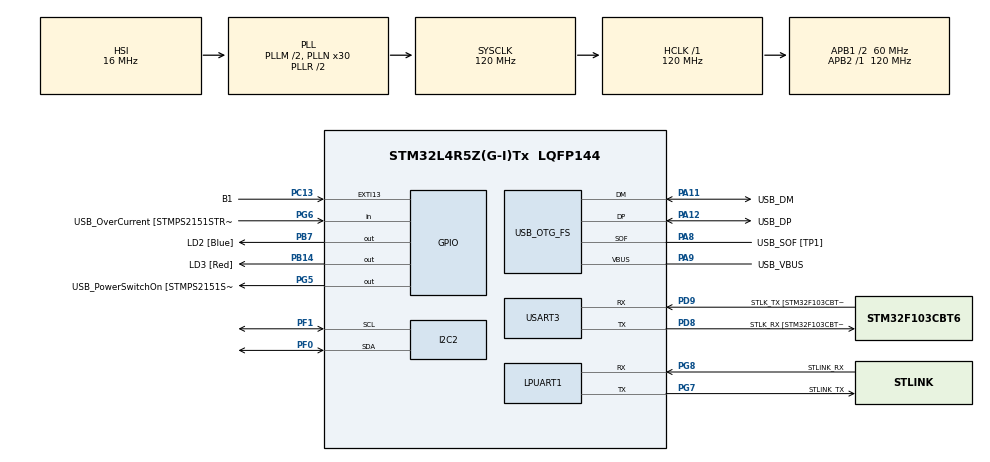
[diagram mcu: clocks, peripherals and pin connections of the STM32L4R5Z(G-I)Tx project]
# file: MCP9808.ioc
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I2C2.Timing=0x107075B0
LPUART1.WordLength=UART_WORDLENGTH_8B
Mcu.Family=STM32L4
Mcu.Name=STM32L4R5Z(G-I)Tx
Mcu.Package=LQFP144
NVIC.PriorityGroup=NVIC_PRIORITYGROUP_4
PA10.GPIO_Label=USB_ID
PA10.Signal=USB_OTG_FS_ID
PA11.GPIO_Label=USB_DM
PA11.Mode=Device_Only
PA11.Signal=USB_OTG_FS_DM
PA12.GPIO_Label=USB_DP
PA12.Mode=Device_Only
PA12.Signal=USB_OTG_FS_DP
PA13\ (JTMS/SWDIO).GPIO_Label=TMS
PA13\ (JTMS/SWDIO).Mode=Trace_Asynchronous_SW
PA13\ (JTMS/SWDIO).Signal=SYS_JTMS-SWDIO
PA14\ (JTCK/SWCLK).GPIO_Label=TCK
PA14\ (JTCK/SWCLK).Mode=Trace_Asynchronous_SW
PA14\ (JTCK/SWCLK).Signal=SYS_JTCK-SWCLK
PA2.Signal=USART2_TX
PA3.Signal=USART2_RX
PA8.GPIO_Label=USB_SOF [TP1]
PA8.Mode=Activate_SOF_FS
PA8.Signal=USB_OTG_FS_SOF
PA9.GPIO_Label=USB_VBUS
PA9.Mode=Activate_VBUS
PA9.Signal=USB_OTG_FS_VBUS
PB14.GPIO_Label=LD3 [Red]
PB14.Signal=GPIO_Output
PB3\ (JTDO/TRACESWO).GPIO_Label=SWO
PB3\ (JTDO/TRACESWO).Mode=Trace_Asynchronous_SW
PB3\ (JTDO/TRACESWO).Signal=SYS_JTDO-SWO
PB7.GPIO_Label=LD2 [Blue]
PB7.Signal=GPIO_Output
PC13.GPIO_Label=B1
PC13.Signal=GPXTI13
PC14-OSC32_IN\ (PC14).Mode=LSE-External-Oscillator
PC14-OSC32_IN\ (PC14).Signal=RCC_OSC32_IN
PC15-OSC32_OUT\ (PC15).Mode=LSE-External-Oscillator
PC15-OSC32_OUT\ (PC15).Signal=RCC_OSC32_OUT
PD8.GPIO_Label=STLK_RX [STM32F103CBT6_PA3]
PD8.Mode=Asynchronous
PD8.Signal=USART3_TX
PD9.GPIO_Label=STLK_TX [STM32F103CBT6_PA2]
PD9.Mode=Asynchronous
PD9.Signal=USART3_RX
PF0.Mode=I2C
PF0.Signal=I2C2_SDA
PF1.Mode=I2C
PF1.Signal=I2C2_SCL
PG5.GPIO_Label=USB_PowerSwitchOn [STMPS2151STR_EN]
PG5.Signal=GPIO_Output
PG6.GPIO_Label=USB_OverCurrent [STMPS2151STR_FAULT]
PG6.Signal=GPIO_Input
PG7.GPIO_Label=STLINK_TX
PG7.Mode=Asynchronous
PG7.Signal=LPUART1_TX
PG8.GPIO_Label=STLINK_RX
PG8.Mode=Asynchronous
PG8.Signal=LPUART1_RX
PH0-OSC_IN\ (PH0).Signal=RCC_OSC_IN
PH1-OSC_OUT\ (PH1).Signal=RCC_OSC_OUT
ProjectManager.HeapSize=0x200
ProjectManager.StackSize=0x400
ProjectManager.TargetToolchain=STM32CubeIDE
RCC.48MHZClocksFreq_Value=24000000
RCC.ADCFreq_Value=96000000
RCC.AHBFreq_Value=120000000
RCC.APB1CLKDivider=RCC_HCLK_DIV2
RCC.APB1Freq_Value=60000000
RCC.APB1TimFreq_Value=120000000
RCC.APB2Freq_Value=120000000
RCC.APB2TimFreq_Value=120000000
RCC.CK48CLockSelection=RCC_USBCLKSOURCE_HSI48
RCC.CortexFreq_Value=120000000
RCC.HCLKFreq_Value=120000000
RCC.HSE_VALUE=8000000
RCC.HSI48_VALUE=48000000
RCC.HSI_VALUE=16000000
RCC.MSI_VALUE=4000000
RCC.PLLM1=2
RCC.PLLMUL=RCC_PLL_MUL9
RCC.PLLN=30
RCC.PLLSAI1N=12
RCC.PLLSourceVirtual=RCC_PLLSOURCE_HSI
RCC.PRESCALERUSB=RCC_USBCLKSOURCE_PLL_DIV1_5
RCC.SYSCLKFreq_VALUE=120000000
RCC.SYSCLKSource=RCC_SYSCLKSOURCE_PLLCLK
RCC.SYSCLKSourceVirtual=RCC_SYSCLKSOURCE_PLLCLK
RCC.USBFreq_Value=48000000
RCC.VCOOutputFreq_Value=240000000
USART3.VirtualMode-Asynchronous=VM_ASYNC
USB_OTG_FS.VirtualMode=Device_Only
board=NUCLEO-L4R5ZI

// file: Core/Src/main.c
/* USER CODE BEGIN Header */
/**
 ******************************************************************************
 * @file           : main.c
 * @brief          : Main program body
 ******************************************************************************
 * @attention
 *
 * Copyright (c) 2022 STMicroelectronics.
 * All rights reserved.
 *
 * This software is licensed under terms that can be found in the LICENSE file
 * in the root directory of this software component.
 * If no LICENSE file comes with this software, it is provided AS-IS.
 *
 ******************************************************************************
 */
/* USER CODE END Header */
#include "main.h"

/* USER CODE BEGIN Includes */
#include <string.h>
#include <stdlib.h>

/* USER CODE END Includes */

I2C_HandleTypeDef hi2c2;

UART_HandleTypeDef hlpuart1;
UART_HandleTypeDef huart3;

PCD_HandleTypeDef hpcd_USB_OTG_FS;

/* USER CODE BEGIN PV */
static const uint8_t SENS_ADDR = 0x18;
static const uint8_t REG_TEMP = 0x05;
uint8_t ACK;
uint8_t NAK;
uint8_t UpperByte;
uint8_t LowerByte;

/* USER CODE END PV */

void SystemClock_Config(void);
static void MX_GPIO_Init(void);
static void MX_LPUART1_UART_Init(void);
static void MX_USART3_UART_Init(void);
static void MX_USB_OTG_FS_PCD_Init(void);
static void MX_I2C2_Init(void);

int main(void) {
	/* USER CODE BEGIN 1 */
	uint8_t buf[3];
	char str[100];
	float Temperature;
	/* USER CODE END 1 */

	/* MCU Configuration--------------------------------------------------------*/

	/* Reset of all peripherals, Initializes the Flash interface and the Systick. */
	HAL_Init();

	/* Configure the system clock */
	SystemClock_Config();

	/* Initialize all configured peripherals */
	MX_GPIO_Init();
	MX_LPUART1_UART_Init();
	MX_USART3_UART_Init();
	MX_USB_OTG_FS_PCD_Init();
	MX_I2C2_Init();

	/* Infinite loop */
	/* USER CODE BEGIN WHILE */
	while (1) {
		// new line char, for clarity
		char newLine[2] = "\n";

		/*
		 * Here, we are sending the address of the Ambiant Temperature information
		 * (Stored in REG_TEMP), to the Sensor where it will repopulate the buf
		 * with the 2 bytes which contain the information about the Ambiant Temperature
		 *
		 */
		buf[0] = REG_TEMP;
		HAL_I2C_Master_Transmit(&hi2c2, SENS_ADDR << 1, buf, 1,
		HAL_MAX_DELAY);

		// The 16 bits that represent the information for the Ta (Ambiant Temperature) are stored in
		// buf as the first two bytes (as it 16 bits long, so 2 bytes)
		HAL_I2C_Master_Receive(&hi2c2, SENS_ADDR << 1, buf, 2,
		HAL_MAX_DELAY);

		// First most significant byte
		UpperByte = buf[0];
		short upper = UpperByte; // Here for debugging purposes

		// Less significant byte
		LowerByte = buf[1];
		short lower = LowerByte; // Here for debugging purposes

		/*
		 * Following block of code can be found on page 25
		 * of the MCP9808 Data Sheet
		 *
		 *
		 */

		//First Check flag bits
		if ((UpperByte & 0x80) == 0x80) { //TA ³ TCRIT
			// 1000 0000, checks the most significant bit

		}
		if ((UpperByte & 0x40) == 0x40) { //TA > TUPPER
			// Need to configure upper limit

			// 0100 0000, checks bit 7
//			char str[] = "Ambient Temperature is greater than Upper Limit.";
//			HAL_UART_Transmit(&hlpuart1, str, strlen((char*) str),
//					HAL_MAX_DELAY);
		}
		if ((UpperByte & 0x20) == 0x20) { //TA < TLOWER
			// need to configure lower limit

			//			char str[] = "Ambient Temperature is less than lower Limit.";
//			HAL_UART_Transmit(&hlpuart1, str, strlen((char*) str),
//					HAL_MAX_DELAY);

		}
		// UpperByte & 0001 1111, first 3 bits of UpperByte are flag bits
		upper = upper & 0x1F; //Clear flag bits

		if ((UpperByte & 0x10) == 0x10) { //TA < 0°C
			upper = upper & 0x0F; //Clear SIGN
			Temperature = 256 - (upper * 16 + (float) lower / 16);
		} else
			//TA >= 0°C
			Temperature = (upper * 16 + (float) lower / 16);

		// The largest number is going to have 8 characters + end of string character
		char tempBuf[9];
		gcvt(Temperature, 7, tempBuf);

		// Prints Temp to COM port
		HAL_UART_Transmit(&hlpuart1, tempBuf, strlen((char*) tempBuf),
		HAL_MAX_DELAY);
		// Print new line for clarity
		HAL_UART_Transmit(&hlpuart1, newLine, strlen((char*) newLine),
		HAL_MAX_DELAY);

		HAL_Delay(750);

		/* USER CODE END WHILE */

	}
}

void SystemClock_Config(void) {
	RCC_OscInitTypeDef RCC_OscInitStruct = { 0 };
	RCC_ClkInitTypeDef RCC_ClkInitStruct = { 0 };

	/** Configure the main internal regulator output voltage
	 */
	if (HAL_PWREx_ControlVoltageScaling(PWR_REGULATOR_VOLTAGE_SCALE1_BOOST)
			!= HAL_OK) {
		Error_Handler();
	}

	/** Initializes the RCC Oscillators according to the specified parameters
	 * in the RCC_OscInitTypeDef structure.
	 */
	RCC_OscInitStruct.OscillatorType = RCC_OSCILLATORTYPE_HSI48
			| RCC_OSCILLATORTYPE_HSI;
	RCC_OscInitStruct.HSIState = RCC_HSI_ON;
	RCC_OscInitStruct.HSI48State = RCC_HSI48_ON;
	RCC_OscInitStruct.HSICalibrationValue = RCC_HSICALIBRATION_DEFAULT;
	RCC_OscInitStruct.PLL.PLLState = RCC_PLL_ON;
	RCC_OscInitStruct.PLL.PLLSource = RCC_PLLSOURCE_HSI;
	RCC_OscInitStruct.PLL.PLLM = 2;
	RCC_OscInitStruct.PLL.PLLN = 30;
	RCC_OscInitStruct.PLL.PLLP = RCC_PLLP_DIV2;
	RCC_OscInitStruct.PLL.PLLQ = RCC_PLLQ_DIV2;
	RCC_OscInitStruct.PLL.PLLR = RCC_PLLR_DIV2;
	if (HAL_RCC_OscConfig(&RCC_OscInitStruct) != HAL_OK) {
		Error_Handler();
	}

	/** Initializes the CPU, AHB and APB buses clocks
	 */
	RCC_ClkInitStruct.ClockType = RCC_CLOCKTYPE_HCLK | RCC_CLOCKTYPE_SYSCLK
			| RCC_CLOCKTYPE_PCLK1 | RCC_CLOCKTYPE_PCLK2;
	RCC_ClkInitStruct.SYSCLKSource = RCC_SYSCLKSOURCE_PLLCLK;
	RCC_ClkInitStruct.AHBCLKDivider = RCC_SYSCLK_DIV1;
	RCC_ClkInitStruct.APB1CLKDivider = RCC_HCLK_DIV2;
	RCC_ClkInitStruct.APB2CLKDivider = RCC_HCLK_DIV1;

	if (HAL_RCC_ClockConfig(&RCC_ClkInitStruct, FLASH_LATENCY_5) != HAL_OK) {
		Error_Handler();
	}
}

static void MX_I2C2_Init(void) {

	hi2c2.Instance = I2C2;
	hi2c2.Init.Timing = 0x107075B0;
	hi2c2.Init.OwnAddress1 = 0;
	hi2c2.Init.AddressingMode = I2C_ADDRESSINGMODE_7BIT;
	hi2c2.Init.DualAddressMode = I2C_DUALADDRESS_DISABLE;
	hi2c2.Init.OwnAddress2 = 0;
	hi2c2.Init.OwnAddress2Masks = I2C_OA2_NOMASK;
	hi2c2.Init.GeneralCallMode = I2C_GENERALCALL_DISABLE;
	hi2c2.Init.NoStretchMode = I2C_NOSTRETCH_DISABLE;
	if (HAL_I2C_Init(&hi2c2) != HAL_OK) {
		Error_Handler();
	}

	/** Configure Analogue filter
	 */
	if (HAL_I2CEx_ConfigAnalogFilter(&hi2c2, I2C_ANALOGFILTER_ENABLE)
			!= HAL_OK) {
		Error_Handler();
	}

	/** Configure Digital filter
	 */
	if (HAL_I2CEx_ConfigDigitalFilter(&hi2c2, 0) != HAL_OK) {
		Error_Handler();
	}

}

static void MX_LPUART1_UART_Init(void) {

	hlpuart1.Instance = LPUART1;
	hlpuart1.Init.BaudRate = 209700;
	hlpuart1.Init.WordLength = UART_WORDLENGTH_8B;
	hlpuart1.Init.StopBits = UART_STOPBITS_1;
	hlpuart1.Init.Parity = UART_PARITY_NONE;
	hlpuart1.Init.Mode = UART_MODE_TX_RX;
	hlpuart1.Init.HwFlowCtl = UART_HWCONTROL_NONE;
	hlpuart1.Init.OneBitSampling = UART_ONE_BIT_SAMPLE_DISABLE;
	hlpuart1.Init.ClockPrescaler = UART_PRESCALER_DIV1;
	hlpuart1.AdvancedInit.AdvFeatureInit = UART_ADVFEATURE_NO_INIT;
	hlpuart1.FifoMode = UART_FIFOMODE_DISABLE;
	if (HAL_UART_Init(&hlpuart1) != HAL_OK) {
		Error_Handler();
	}
	if (HAL_UARTEx_SetTxFifoThreshold(&hlpuart1, UART_TXFIFO_THRESHOLD_1_8)
			!= HAL_OK) {
		Error_Handler();
	}
	if (HAL_UARTEx_SetRxFifoThreshold(&hlpuart1, UART_RXFIFO_THRESHOLD_1_8)
			!= HAL_OK) {
		Error_Handler();
	}
	if (HAL_UARTEx_DisableFifoMode(&hlpuart1) != HAL_OK) {
		Error_Handler();
	}

}

static void MX_USART3_UART_Init(void) {

	huart3.Instance = USART3;
	huart3.Init.BaudRate = 115200;
	huart3.Init.WordLength = UART_WORDLENGTH_8B;
	huart3.Init.StopBits = UART_STOPBITS_1;
	huart3.Init.Parity = UART_PARITY_NONE;
	huart3.Init.Mode = UART_MODE_TX_RX;
	huart3.Init.HwFlowCtl = UART_HWCONTROL_NONE;
	huart3.Init.OverSampling = UART_OVERSAMPLING_16;
	huart3.Init.OneBitSampling = UART_ONE_BIT_SAMPLE_DISABLE;
	huart3.Init.ClockPrescaler = UART_PRESCALER_DIV1;
	huart3.AdvancedInit.AdvFeatureInit = UART_ADVFEATURE_NO_INIT;
	if (HAL_UART_Init(&huart3) != HAL_OK) {
		Error_Handler();
	}
	if (HAL_UARTEx_SetTxFifoThreshold(&huart3, UART_TXFIFO_THRESHOLD_1_8)
			!= HAL_OK) {
		Error_Handler();
	}
	if (HAL_UARTEx_SetRxFifoThreshold(&huart3, UART_RXFIFO_THRESHOLD_1_8)
			!= HAL_OK) {
		Error_Handler();
	}
	if (HAL_UARTEx_DisableFifoMode(&huart3) != HAL_OK) {
		Error_Handler();
	}

}

static void MX_USB_OTG_FS_PCD_Init(void) {

	hpcd_USB_OTG_FS.Instance = USB_OTG_FS;
	hpcd_USB_OTG_FS.Init.dev_endpoints = 6;
	hpcd_USB_OTG_FS.Init.phy_itface = PCD_PHY_EMBEDDED;
	hpcd_USB_OTG_FS.Init.Sof_enable = ENABLE;
	hpcd_USB_OTG_FS.Init.low_power_enable = DISABLE;
	hpcd_USB_OTG_FS.Init.lpm_enable = DISABLE;
	hpcd_USB_OTG_FS.Init.battery_charging_enable = ENABLE;
	hpcd_USB_OTG_FS.Init.use_dedicated_ep1 = DISABLE;
	hpcd_USB_OTG_FS.Init.vbus_sensing_enable = ENABLE;
	if (HAL_PCD_Init(&hpcd_USB_OTG_FS) != HAL_OK) {
		Error_Handler();
	}

}

static void MX_GPIO_Init(void) {
	GPIO_InitTypeDef GPIO_InitStruct = { 0 };

	/* GPIO Ports Clock Enable */
	__HAL_RCC_GPIOC_CLK_ENABLE();
	__HAL_RCC_GPIOF_CLK_ENABLE();
	__HAL_RCC_GPIOH_CLK_ENABLE();
	__HAL_RCC_GPIOA_CLK_ENABLE();
	__HAL_RCC_GPIOB_CLK_ENABLE();
	__HAL_RCC_GPIOD_CLK_ENABLE();
	__HAL_RCC_GPIOG_CLK_ENABLE();
	HAL_PWREx_EnableVddIO2();

	/*Configure GPIO pin Output Level */
	HAL_GPIO_WritePin(GPIOB, LD3_Pin | LD2_Pin, GPIO_PIN_RESET);

	/*Configure GPIO pin Output Level */
	HAL_GPIO_WritePin(USB_PowerSwitchOn_GPIO_Port, USB_PowerSwitchOn_Pin,
			GPIO_PIN_RESET);

	/*Configure GPIO pin : B1_Pin */
	GPIO_InitStruct.Pin = B1_Pin;
	GPIO_InitStruct.Mode = GPIO_MODE_IT_RISING;
	GPIO_InitStruct.Pull = GPIO_NOPULL;
	HAL_GPIO_Init(B1_GPIO_Port, &GPIO_InitStruct);

	/*Configure GPIO pins : PA2 PA3 */
	GPIO_InitStruct.Pin = GPIO_PIN_2 | GPIO_PIN_3;
	GPIO_InitStruct.Mode = GPIO_MODE_AF_PP;
	GPIO_InitStruct.Pull = GPIO_NOPULL;
	GPIO_InitStruct.Speed = GPIO_SPEED_FREQ_VERY_HIGH;
	GPIO_InitStruct.Alternate = GPIO_AF7_USART2;
	HAL_GPIO_Init(GPIOA, &GPIO_InitStruct);

	/*Configure GPIO pins : LD3_Pin LD2_Pin */
	GPIO_InitStruct.Pin = LD3_Pin | LD2_Pin;
	GPIO_InitStruct.Mode = GPIO_MODE_OUTPUT_PP;
	GPIO_InitStruct.Pull = GPIO_NOPULL;
	GPIO_InitStruct.Speed = GPIO_SPEED_FREQ_LOW;
	HAL_GPIO_Init(GPIOB, &GPIO_InitStruct);

	/*Configure GPIO pin : USB_PowerSwitchOn_Pin */
	GPIO_InitStruct.Pin = USB_PowerSwitchOn_Pin;
	GPIO_InitStruct.Mode = GPIO_MODE_OUTPUT_PP;
	GPIO_InitStruct.Pull = GPIO_NOPULL;
	GPIO_InitStruct.Speed = GPIO_SPEED_FREQ_LOW;
	HAL_GPIO_Init(USB_PowerSwitchOn_GPIO_Port, &GPIO_InitStruct);

	/*Configure GPIO pin : USB_OverCurrent_Pin */
	GPIO_InitStruct.Pin = USB_OverCurrent_Pin;
	GPIO_InitStruct.Mode = GPIO_MODE_INPUT;
	GPIO_InitStruct.Pull = GPIO_NOPULL;
	HAL_GPIO_Init(USB_OverCurrent_GPIO_Port, &GPIO_InitStruct);

}

void Error_Handler(void) {
	__disable_irq();
	while (1) {
	}
}
